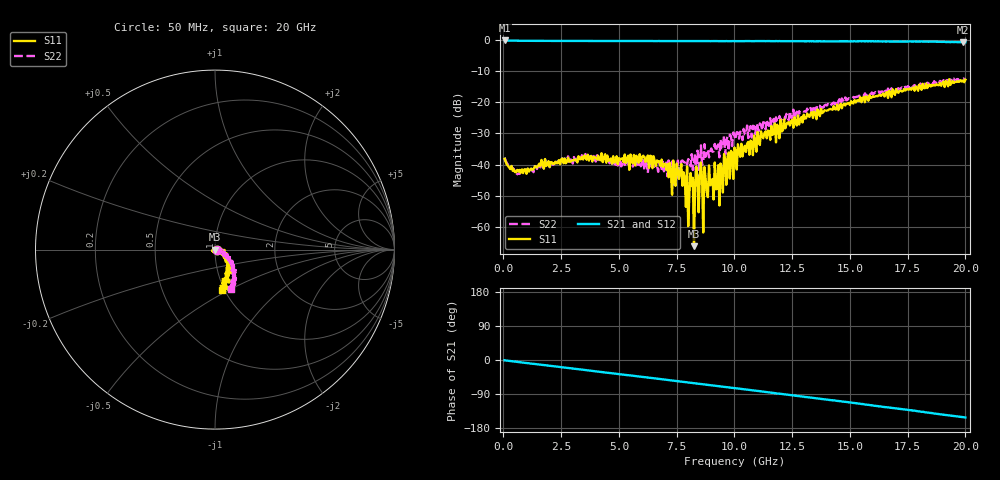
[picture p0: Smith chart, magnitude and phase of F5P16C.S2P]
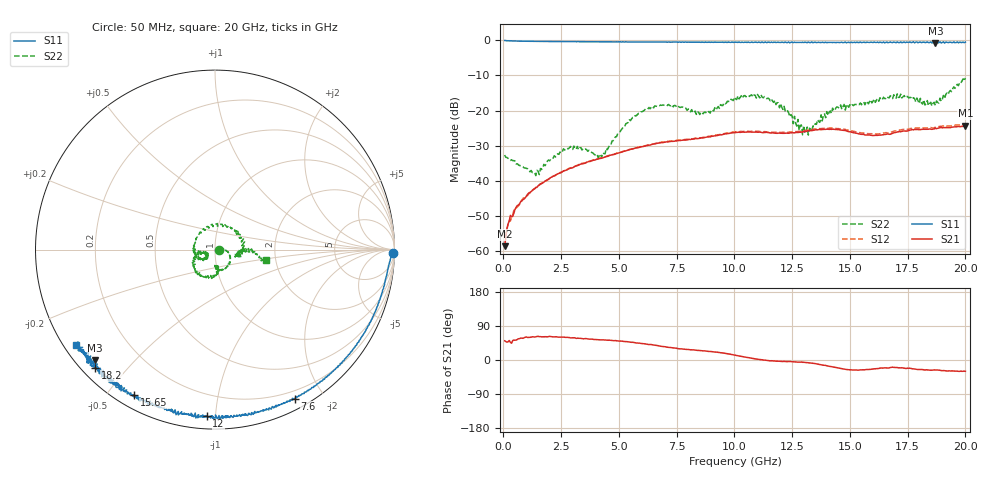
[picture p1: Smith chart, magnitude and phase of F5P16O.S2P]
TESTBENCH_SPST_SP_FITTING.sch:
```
<Qucs Schematic 0.0.15>
<Properties>
  <View=-90,-80,1322,777,0.675613,0,0>
  <Grid=10,10,1>
  <DataSet=TESTBENCH_SPST_SP_FITTING.dat>
  <DataDisplay=TESTBENCH_SPST_SP_FITTING.dpl>
  <OpenDisplay=1>
  <showFrame=0>
  <FrameText0=Title>
  <FrameText1=Drawn By:>
  <FrameText2=Date:>
  <FrameText3=Revision:>
</Properties>
<Symbol>
  <.ID -20 -16 SPDT>
  <Line -20 20 40 0 #000080 2 1>
  <Line 20 20 0 -40 #000080 2 1>
  <Line -20 -20 40 0 #000080 2 1>
  <Line -20 20 0 -40 #000080 2 1>
</Symbol>
<Components>
  <GND * 1 340 250 0 0 0 3>
  <Pac P5 1 370 250 -26 40 0 0 "5" 0 "50 Ohm" 1 "0 dBm" 0 "1 GHz" 0 "26.85" 0>
  <GND * 1 600 250 0 0 0 1>
  <GND * 1 470 280 0 0 0 0>
  <Pac P6 1 570 250 -26 40 1 2 "6" 0 "50 Ohm" 1 "0 dBm" 0 "1 GHz" 0 "26.85" 0>
  <GND * 1 340 410 0 0 0 3>
  <Pac P7 1 370 410 -26 40 0 0 "7" 0 "50 Ohm" 1 "0 dBm" 0 "1 GHz" 0 "26.85" 0>
  <GND * 1 600 410 0 0 0 1>
  <Pac P8 1 570 410 -26 40 1 2 "8" 0 "50 Ohm" 1 "0 dBm" 0 "1 GHz" 0 "26.85" 0>
  <SPfile X2 5 470 250 -26 -44 0 0 "F5P16C.S2P" 1 "rectangular" 0 "linear" 0 "open" 0 "2" 0>
  <R R2 5 470 410 -26 15 0 0 "4 Ohm" 1 "26.85" 0 "0.0" 0 "0.0" 0 "26.85" 0 "US" 0>
  <C C2 4 270 560 -26 17 0 0 "7.5 fF" 1 "" 0 "neutral" 0>
  <TLIN Line2 0 350 560 -26 20 0 0 "50 Ohm" 1 "1 mm" 1 "0 dB" 0 "26.85" 0>
  <BOND Line3 0 430 560 -26 9 0 0 "3 mm" 1 "50 um" 1 "2 mm" 1 "0.022e-6" 0 "1" 0 "FREESPACE" 0 "Subst1" 1 "26.85" 0>
  <TLIN Line1 0 190 560 -26 20 0 0 "50 Ohm" 1 "1 mm" 1 "0 dB" 0 "26.85" 0>
  <BOND Line4 0 110 560 -26 9 0 0 "3 mm" 1 "50 um" 1 "2 mm" 1 "0.022e-6" 0 "1" 0 "FREESPACE" 0 "Subst1" 1 "26.85" 0>
  <GND * 0 540 560 0 0 0 1>
  <Pac P9 0 510 560 -26 40 1 2 "9" 0 "50 Ohm" 1 "0 dBm" 0 "1 GHz" 0 "26.85" 0>
  <GND * 0 0 560 0 0 0 3>
  <Pac P10 0 30 560 -26 40 0 0 "10" 0 "50 Ohm" 1 "0 dBm" 0 "1 GHz" 0 "26.85" 0>
  <SUBST Subst1 0 650 560 -30 24 0 0 "11.7" 1 "0.5 mm" 1 "3.5 um" 1 "0.006" 1 "0.022e-6" 1 "0.15e-6" 1>
  <Eqn Eqn3 1 690 250 -32 17 0 0 "S55_dB=dB(S[5,5])" 1 "S55_Deg=rad2deg(unwrap(phase(S[5,5])))" 1 "S56_dB=dB(S[5,6])" 1 "S56_Deg=rad2deg(unwrap(phase(S[5,6])))" 1 "S65_dB=dB(S[6,5])" 1 "S65_Deg=rad2deg(unwrap(phase(S[6,5])))" 1 "S66_dB=dB(S[6,6])" 1 "S66_Deg=rad2deg(unwrap(phase(S[6,6])))" 1 "yes" 0>
  <Eqn Eqn1 1 690 -10 -32 17 0 0 "S11_dB=dB(S[1,1])" 1 "S11_Deg=rad2deg(unwrap(phase(S[1,1])))" 1 "S12_dB=dB(S[1,2])" 1 "S12_Deg=rad2deg(unwrap(phase(S[1,2])))" 1 "S21_dB=dB(S[2,1])" 1 "S21_Deg=rad2deg(unwrap(phase(S[2,1])))" 1 "S22_dB=dB(S[2,2])" 1 "S22_Deg=rad2deg(unwrap(phase(S[2,2])))" 1 "yes" 0>
  <Eqn Eqn4 1 1010 250 -32 17 0 0 "S77_dB=dB(S[7,7])" 1 "S77_Deg=rad2deg(unwrap(phase(S[7,7])))" 1 "S78_dB=dB(S[7,8])" 1 "S78_Deg=rad2deg(unwrap(phase(S[7,8])))" 1 "S87_dB=dB(S[8,7])" 1 "S87_Deg=rad2deg(unwrap(phase(S[8,7])))" 1 "S88_dB=dB(S[8,8])" 1 "S88_Deg=rad2deg(unwrap(phase(S[8,8])))" 1 "yes" 0>
  <Eqn Eqn2 1 1010 -10 -32 17 0 0 "S33_dB=dB(S[3,3])" 1 "S33_Deg=rad2deg(unwrap(phase(S[3,3])))" 1 "S34_dB=dB(S[3,4])" 1 "S34_Deg=rad2deg(unwrap(phase(S[3,4])))" 1 "S43_dB=dB(S[4,3])" 1 "S43_Deg=rad2deg(unwrap(phase(S[4,3])))" 1 "S44_dB=dB(S[4,4])" 1 "S44_Deg=rad2deg(unwrap(phase(S[4,4])))" 1 "yes" 0>
  <.DC DC1 1 320 -30 0 43 0 0 "26.85" 0 "0.001" 0 "1 pA" 0 "1 uV" 0 "no" 0 "150" 0 "no" 0 "none" 0 "CroutLU" 0>
  <.SP SP1 1 490 -30 0 74 0 0 "lin" 1 "0.1 GHz" 1 "20 GHz" 1 "200" 1 "yes" 1 "1" 0 "2" 0 "no" 0 "no" 0>
  <GND * 1 -10 250 0 0 0 3>
  <Pac P1 1 20 250 -26 40 0 0 "1" 0 "50 Ohm" 1 "0 dBm" 0 "1 GHz" 0 "26.85" 0>
  <GND * 1 250 250 0 0 0 1>
  <GND * 1 120 280 0 0 0 0>
  <Pac P2 1 220 250 -26 40 1 2 "2" 0 "50 Ohm" 1 "0 dBm" 0 "1 GHz" 0 "26.85" 0>
  <GND * 1 250 410 0 0 0 1>
  <Pac P4 1 220 410 -26 40 1 2 "4" 0 "50 Ohm" 1 "0 dBm" 0 "1 GHz" 0 "26.85" 0>
  <SPfile X1 5 120 250 -26 -44 0 0 "F5P16O.S2P" 1 "rectangular" 0 "linear" 0 "open" 0 "2" 0>
  <C C1 5 120 410 -26 17 0 0 "7.5 fF" 1 "" 0 "neutral" 0>
  <GND * 1 -10 410 0 0 0 3>
  <Pac P3 1 20 410 -26 40 0 0 "3" 0 "50 Ohm" 1 "0 dBm" 0 "1 GHz" 0 "26.85" 0>
</Components>
<Wires>
  <400 250 440 250 "" 0 0 0 "">
  <500 250 540 250 "" 0 0 0 "">
  <500 410 540 410 "" 0 0 0 "">
  <400 410 440 410 "" 0 0 0 "">
  <300 560 320 560 "" 0 0 0 "">
  <380 560 400 560 "" 0 0 0 "">
  <220 560 240 560 "" 0 0 0 "">
  <140 560 160 560 "" 0 0 0 "">
  <460 560 480 560 "" 0 0 0 "">
  <60 560 80 560 "" 0 0 0 "">
  <50 250 90 250 "" 0 0 0 "">
  <150 250 190 250 "" 0 0 0 "">
  <150 410 190 410 "" 0 0 0 "">
  <50 410 90 410 "" 0 0 0 "">
</Wires>
<Diagrams>
</Diagrams>
<Paintings>
  <Rectangle 300 200 340 300 #000000 0 1 #c0c0c0 1 0>
  <Rectangle -50 200 340 300 #000000 0 1 #c0c0c0 1 0>
  <Text 300 170 12 #000000 0 "ON-STATE">
  <Text -50 170 12 #000000 0 "OFF-STATE">
  <Text -40 90 6 #000000 0 "Fitting the ON-state and OFF-state S-Parameters of a Measured RADANT RMSW220 RF MEMS SPDT Switch\nRF MEMS for Radar Tutorial\nK. Van Caekenberghe\nIEEE International Radar Conference, Washington D.C., May 14, 2010\n(Tested on Qucs 0.0.15)">
</Paintings>
```
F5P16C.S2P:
! FILE NAME
! DATE 05/07/2008  07:37
! CORRECTED  DATA
# GHz  S  MA  R  50.00
!  FREQ  S11M  S11A  S21M  S21A  S12M  S12A  S22M  S22A
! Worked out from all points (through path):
!   400 points, 50 MHz to 20 GHz, reference 50 ohm
!   highest |S21| = -0.17 dB at 50 MHz (marker M1); lowest = -0.8 dB at 19.9 GHz (marker M2)
!   group delay of S21, straight-line fit = 20.9 ps
!   lowest |S11| = -66.1 dB at 8.25 GHz (marker M3), VSWR 1.00, Z = 50 - j0.042 ohm
!   |S11| at or under -10 dB: start of sweep to end of sweep
!   |S22| runs from -46.6 to -12.4 dB; largest |S21 - S12| = 0.019
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0.05  0.01242 -15.3  0.9802 -0.8  0.9808 -0.7  0.01296 -21.1
7.95  0.009412 162.2  0.9581 -58.8  0.9573 -58.8  0.01002 -34.2
8  0.00103 -171.8  0.957 -59.3  0.9572 -59.1  0.0123 -69.6
8.2  0.006155 174.7  0.9584 -60.6  0.9573 -60.7  0.008228 -38.8
8.25  0.0004938 -121.7  0.9583 -61.1  0.9587 -61.0  0.01039 -43.7
8.35  0.009346 -156.3  0.9577 -61.8  0.9573 -61.7  0.0047 -44.4
8.65  0.0008183 0.4  0.9586 -64.1  0.9578 -64.0  0.01131 -37.7
8.7  0.009181 89.3  0.9596 -64.4  0.9559 -64.4  0.02134 -35.4
10.05  0.01689 -16.2  0.9566 -74.4  0.9562 -74.2  0.02512 -15.1
19.9  0.2252 -80.5  0.9167 -150.8  0.9192 -151.1  0.2411 -66.1
20  0.2298 -80.4  0.9174 -151.6  0.9198 -151.9  0.2361 -67.1
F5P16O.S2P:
! FILE NAME
! DATE 05/07/2008  07:55
! CORRECTED  DATA
# GHz  S  MA  R  50.00
!  FREQ  S11M  S11A  S21M  S21A  S12M  S12A  S22M  S22A
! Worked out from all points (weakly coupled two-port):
!   400 points, 50 MHz to 20 GHz, reference 50 ohm
!   highest |S21| = -24.33 dB at 20 GHz (marker M1); lowest = -58.5 dB at 50 MHz (marker M2)
!   lowest |S11| = -0.8 dB at 18.7 GHz (marker M3), VSWR 20.99, Z = 2.75 - j19.5 ohm
!   |S11| at or under -10 dB: nowhere
!   |S22| runs from -38.5 to -10.7 dB; largest |S21 - S12| = 0.0039
!   S11 on the Smith chart (normalised r, x): 50 MHz: open; 7.6 GHz: 0.11, -1.67; 12 GHz: 0.07, -0.95; 15.65 GHz: 0.05, -0.59; 18.2 GHz: 0.04, -0.41; 20 GHz: 0.03, -0.31
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0.05  0.9916 -1.0  0.001182 50.5  0.001595 60.8  0.0233 -6.7
0.3  0.978 -3.3  0.00324 46.6  0.002698 51.9  0.01958 -12.6
2.05  0.9598 -17.8  0.01119 61.8  0.01121 62.1  0.02042 -1.4
7.6  0.942 -61.7  0.03746 29.6  0.03791 31.0  0.1125 -82.6
10.05  0.9378 -79.9  0.0487 12.5  0.05001 13.3  0.1473 -94.7
12  0.9289 -92.8  0.04769 -3.5  0.0488 -2.5  0.1261 -158.5
13.2  0.9432 -102.5  0.05147 -7.5  0.0528 -6.2  0.04495 -154.1
15.65  0.9282 -119.1  0.04498 -25.9  0.04733 -25.2  0.1208 116.6
18.2  0.9383 -135.4  0.05418 -25.9  0.0563 -26.8  0.1421 -14.5
18.7  0.9091 -137.2  0.05564 -26.4  0.05744 -27.1  0.1183 -7.6
20  0.9406 -145.6  0.06072 -29.8  0.06381 -30.8  0.2902 -12.1
